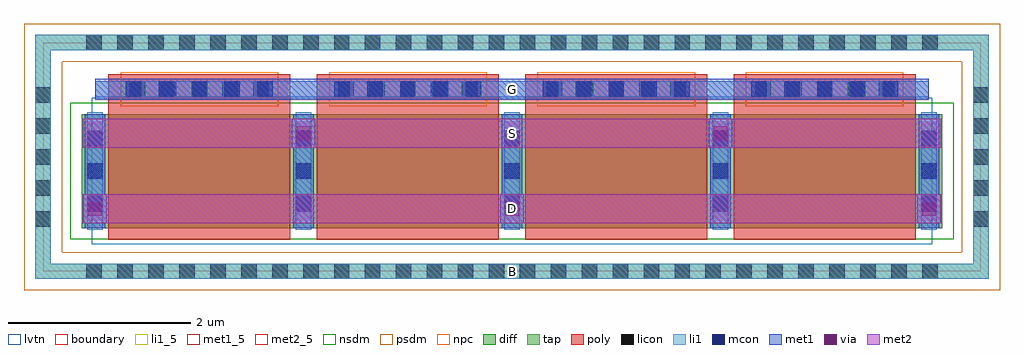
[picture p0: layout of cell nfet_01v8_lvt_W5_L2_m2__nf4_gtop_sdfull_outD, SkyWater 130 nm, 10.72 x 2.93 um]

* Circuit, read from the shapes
.subckt nfet_01v8_lvt_W5_L2_m2__nf4_gtop_sdfull_outD B D G S
XM1 S G D B sky130_fd_pr__nfet_01v8_lvt w=1.25 l=2 m=4
.ends

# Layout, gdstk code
import gdstk
lib = gdstk.Library(unit=1e-6, precision=1e-09)
def R(c, l, rs):  # rectangles x0, y0, x1, y1
    for r in rs: c.add(gdstk.rectangle(r[:2], r[2:], *l))
def A(c, l, x, y, w, h, nx, ny, dx, dy):  # array of equal rectangles
    R(c, l, [(x+i*dx, y+j*dy, x+i*dx+w, y+j*dy+h) for i in range(nx) for j in range(ny)])
diff = (65, 20)
tap = (65, 44)
poly = (66, 20)
licon = (66, 44)
li1_5 = (67, 5)
li1 = (67, 20)
mcon = (67, 44)
met1_5 = (68, 5)
met1 = (68, 20)
via = (68, 44)
met2_5 = (69, 5)
met2 = (69, 20)
nsdm = (93, 44)
psdm = (94, 20)
npc = (95, 20)
lvtn = (125, 44)
boundary = (235, 4)

sky130_fd_pr__nfet_01v8_ = lib.new_cell('sky130_fd_pr__nfet_01v8_lvt_KVSLA7')
R(sky130_fd_pr__nfet_01v8_, diff, [(-4.725,-0.78,4.725,0.47)])
R(sky130_fd_pr__nfet_01v8_, tap, [(-5.235,-1.34,5.235,-1.17), (-5.235,-1.17,-5.065,1.17), (5.065,-1.17,5.235,1.17), (-5.235,1.17,5.235,1.34)])
A(sky130_fd_pr__nfet_01v8_, poly, -4.435, -0.91, 2, 1.82, 4, 1, 2.29, 0)
A(sky130_fd_pr__nfet_01v8_, licon, -4.675, -1.34, 0.17, 0.17, 28, 2, 0.34, 2.51)
A(sky130_fd_pr__nfet_01v8_, licon, -5.235, -0.765, 0.17, 0.17, 1, 5, 0, 0.34)
A(sky130_fd_pr__nfet_01v8_, licon, 5.065, -0.765, 0.17, 0.17, 1, 5, 0, 0.34)
A(sky130_fd_pr__nfet_01v8_, licon, -4.665, -0.58, 0.17, 0.17, 5, 3, 2.29, 0.34)
A(sky130_fd_pr__nfet_01v8_, licon, -4.2, 0.66, 0.17, 0.17, 5, 1, 0.34, 0)
A(sky130_fd_pr__nfet_01v8_, licon, -1.91, 0.66, 0.17, 0.17, 5, 1, 0.34, 0)
A(sky130_fd_pr__nfet_01v8_, licon, 0.38, 0.66, 0.17, 0.17, 5, 1, 0.34, 0)
A(sky130_fd_pr__nfet_01v8_, licon, 2.67, 0.66, 0.17, 0.17, 5, 1, 0.34, 0)
A(sky130_fd_pr__nfet_01v8_, li1, -4.665, -0.8, 0.17, 1.29, 5, 1, 2.29, 0)
R(sky130_fd_pr__nfet_01v8_, li1, [(-5.235,-1.34,5.235,-1.17), (-5.235,-1.17,-5.065,1.17), (5.065,-1.17,5.235,1.17), (-4.58,0.66,4.58,0.83), (-5.235,1.17,5.235,1.34)])
A(sky130_fd_pr__nfet_01v8_, mcon, -4.665, -0.6, 0.17, 0.17, 5, 3, 2.29, 0.36)
A(sky130_fd_pr__nfet_01v8_, mcon, -4.24, 0.66, 0.17, 0.17, 5, 1, 0.36, 0)
A(sky130_fd_pr__nfet_01v8_, mcon, -1.95, 0.66, 0.17, 0.17, 5, 1, 0.36, 0)
A(sky130_fd_pr__nfet_01v8_, mcon, 0.34, 0.66, 0.17, 0.17, 5, 1, 0.36, 0)
A(sky130_fd_pr__nfet_01v8_, mcon, 2.63, 0.66, 0.17, 0.17, 5, 1, 0.36, 0)
A(sky130_fd_pr__nfet_01v8_, met1, -4.695, -0.78, 0.23, 1.25, 5, 1, 2.29, 0)
A(sky130_fd_pr__nfet_01v8_, met1, -4.415, 0.63, 1.96, 0.03, 4, 2, 2.29, 0.2)
R(sky130_fd_pr__nfet_01v8_, met1, [(-4.58,0.66,4.58,0.83)])
R(sky130_fd_pr__nfet_01v8_, nsdm, [(-4.85,-0.905,4.85,0.595)])
R(sky130_fd_pr__nfet_01v8_, psdm, [(-5.36,-1.465,5.36,-1.045), (-5.36,-1.045,-4.94,1.045), (4.94,-1.045,5.36,1.045), (-5.36,1.045,5.36,1.465)])
A(sky130_fd_pr__nfet_01v8_, npc, -4.3, 0.56, 1.73, 0.37, 4, 1, 2.29, 0)
R(sky130_fd_pr__nfet_01v8_, lvtn, [(-4.615,-0.96,4.615,0.65)])
R(sky130_fd_pr__nfet_01v8_, boundary, [(-5.15,-1.255,5.15,1.255)])
sky130_fd_pr__nfet_01v8_.add(gdstk.Label('B', (0,-1.255), layer=67, texttype=5))
sky130_fd_pr__nfet_01v8_.add(gdstk.Label('D0', (-4.58,-0.155), layer=67, texttype=5))
sky130_fd_pr__nfet_01v8_.add(gdstk.Label('G', (3.435,0.745), layer=67, texttype=5))
sky130_fd_pr__nfet_01v8_.add(gdstk.Label('G', (1.145,0.745), layer=67, texttype=5))
sky130_fd_pr__nfet_01v8_.add(gdstk.Label('G', (-1.145,0.745), layer=67, texttype=5))
sky130_fd_pr__nfet_01v8_.add(gdstk.Label('G', (-3.435,0.745), layer=67, texttype=5))
sky130_fd_pr__nfet_01v8_.add(gdstk.Label('S1', (-2.29,-0.155), layer=67, texttype=5))
sky130_fd_pr__nfet_01v8_.add(gdstk.Label('D2', (0,-0.155), layer=67, texttype=5))
sky130_fd_pr__nfet_01v8_.add(gdstk.Label('S3', (2.29,-0.155), layer=67, texttype=5))

nfet_01v8_lvt_w5_l2_m2__ = lib.new_cell('nfet_01v8_lvt_W5_L2_m2__nf4_gtop_sdfull_outD')
R(nfet_01v8_lvt_w5_l2_m2__, li1_5, [(5.065,-0.085,5.235,0.085)])
R(nfet_01v8_lvt_w5_l2_m2__, li1, [(5.065,-0.085,5.235,0.085)])
R(nfet_01v8_lvt_w5_l2_m2__, met1_5, [(0.57,1.885,9.73,2.115)])
A(nfet_01v8_lvt_w5_l2_m2__, met1, 0.44, 0.525, 0.26, 0.32, 3, 1, 4.58, 0)
R(nfet_01v8_lvt_w5_l2_m2__, met1, [(2.73,1.355,2.99,1.675), (7.31,1.355,7.57,1.675), (0.57,1.885,9.73,2.115)])
A(nfet_01v8_lvt_w5_l2_m2__, via, 0.495, 0.61, 0.15, 0.15, 3, 1, 4.58, 0)
R(nfet_01v8_lvt_w5_l2_m2__, via, [(2.785,1.44,2.935,1.59), (7.365,1.44,7.515,1.59)])
R(nfet_01v8_lvt_w5_l2_m2__, met2_5, [(0.435,0.525,9.865,0.845), (0.435,1.355,9.865,1.675)])
R(nfet_01v8_lvt_w5_l2_m2__, met2, [(0.435,0.525,9.865,0.845), (0.435,1.355,9.865,1.675)])
nfet_01v8_lvt_w5_l2_m2__.add(gdstk.Reference(sky130_fd_pr__nfet_01v8_, (5.15,1.255)))
nfet_01v8_lvt_w5_l2_m2__.add(gdstk.Label('S', (5.15,1.515), layer=69, texttype=5))
nfet_01v8_lvt_w5_l2_m2__.add(gdstk.Label('D', (5.15,0.685), layer=69, texttype=5))
nfet_01v8_lvt_w5_l2_m2__.add(gdstk.Label('G', (5.15,2), layer=68, texttype=5))
nfet_01v8_lvt_w5_l2_m2__.add(gdstk.Label('B', (5.15,0), layer=67, texttype=5))

lib.write_gds('nfet_01v8_lvt_W5_L2_m2__nf4_gtop_sdfull_outD.gds')
